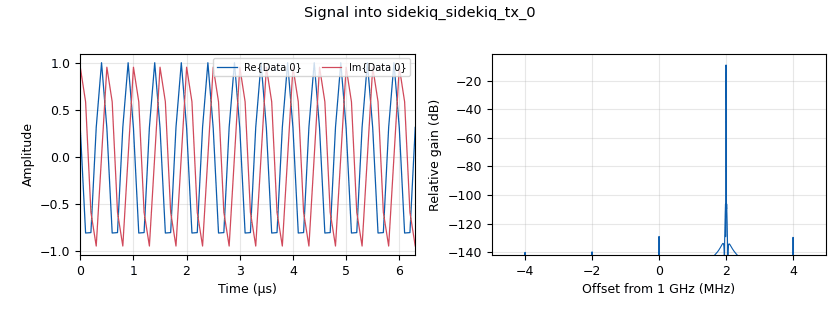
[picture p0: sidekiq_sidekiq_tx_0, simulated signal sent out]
options:
  parameters:
    generate_options: qt_gui
    id: sink_test
    output_language: python
    title: Sink Test
  states: {}

blocks:
- name: attenuation
  id: variable_qtgui_range
  parameters:
    gui_hint: '[4, 0, 1, 1]'
    min_len: '100'
    start: '0'
    step: '10'
    stop: '255'
    value: '125'
  states: {}
- name: bandwidth
  id: variable_qtgui_range
  parameters:
    gui_hint: '[1,0, 1, 1]'
    start: '1000'
    step: 1e6
    stop: 250e6
    value: sample_rate * 0.8
  states: {}
- name: frequency
  id: variable_qtgui_range
  parameters:
    gui_hint: '[3, 0, 1, 1]'
    label: Frequency
    min_len: '100'
    start: 500e6
    step: 1e6
    stop: 6000e6
    value: 1000e6
  states: {}
- name: min_output_buffer
  id: variable
  parameters:
    value: 32764 *2*2
  states: {}
- name: run_tx_calibration
  id: variable_qtgui_push_button
  parameters:
    gui_hint: '[6, 0, 1, 1]'
    pressed: '1'
    released: '0'
    type: int
    value: '0'
  states: {}
- name: sample_rate
  id: variable_qtgui_range
  parameters:
    gui_hint: '[0,0,1,1]'
    start: 1e6
    step: 1e6
    stop: 250e6
    value: 10e6
  states: {}
- name: tone_freq
  id: variable_qtgui_range
  parameters:
    gui_hint: '[5, 0, 1, 1]'
    start: 1e6
    step: 1e6
    stop: 25e6
    value: 2e6
  states: {}
- name: analog_sig_source_x_0
  id: analog_sig_source_x
  parameters:
    amp: '1'
    freq: tone_freq
    minoutbuf: min_output_buffer
    offset: '0'
    phase: '0'
    samp_rate: sample_rate
    type: complex
    waveform: analog.GR_COS_WAVE
  states: {}
- name: sidekiq_sidekiq_tx_0
  id: sidekiq_sidekiq_tx
  parameters:
    attenuation: attenuation
    bandwidth: bandwidth
    buffer_size: '32764'
    burst_tag: ''
    cal_mode: '1'
    card: '0'
    frequency: frequency
    handle: '0'
    run_cal: run_tx_calibration
    sample_rate: sample_rate
    threads: '4'
  states: {}

connections:
- [analog_sig_source_x_0, '0', sidekiq_sidekiq_tx_0, '0']

metadata:
  file_format: 1
  grc_version: 3.10.5.1
